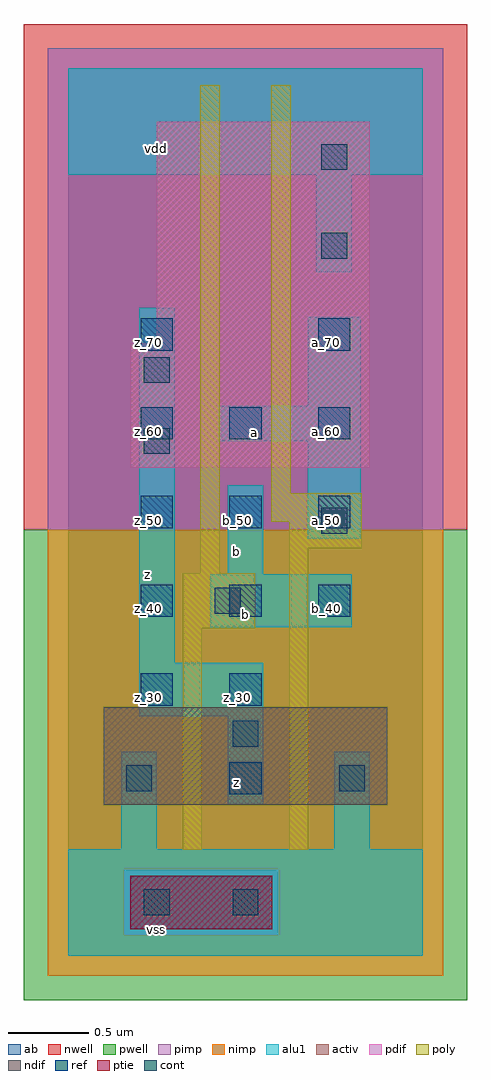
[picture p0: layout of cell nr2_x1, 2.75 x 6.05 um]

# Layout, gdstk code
import gdstk
lib = gdstk.Library(unit=1e-6, precision=2.5e-09)
def R(c, l, rs):  # rectangles x0, y0, x1, y1
    for r in rs: c.add(gdstk.rectangle(r[:2], r[2:], *l))
def A(c, l, x, y, w, h, nx, ny, dx, dy):  # array of equal rectangles
    R(c, l, [(x+i*dx, y+j*dy, x+i*dx+w, y+j*dy+h) for i in range(nx) for j in range(ny)])
ndif = (3, 0)
pdif = (4, 0)
ptie = (6, 0)
ref = (24, 0)
cont = (25, 0)
pwell = (41, 0)
nwell = (42, 0)
activ = (43, 0)
pimp = (44, 0)
nimp = (45, 0)
poly = (46, 0)
alu1 = (49, 0)
ab = (63, 0)

nr2_x1 = lib.new_cell('nr2_x1')
R(nr2_x1, ndif, [(0.22,0.935,1.98,1.54)])
R(nr2_x1, pdif, [(0.385,3.025,1.87,3.795), (0.55,3.795,1.87,5.17)])
R(nr2_x1, ptie, [(0.385,0.165,1.265,0.495)])
A(nr2_x1, ref, 0.45, 2.1, 0.2, 0.2, 3, 3, 0.55, 0.55)
R(nr2_x1, ref, [(1,1,1.2,1.2), (0.45,1.55,0.65,1.75), (1,1.55,1.2,1.75), (0.45,3.75,0.65,3.95), (1.55,3.75,1.75,3.95)])
R(nr2_x1, cont, [(0.47,0.25,0.63,0.41), (1.02,0.25,1.18,0.41), (0.36,1.02,0.52,1.18), (1.68,1.02,1.84,1.18), (1.02,1.295,1.18,1.455), (0.91,2.12,1.07,2.28), (1.57,2.615,1.73,2.775), (0.47,3.11,0.63,3.27), (0.47,3.55,0.63,3.71), (1.57,4.32,1.73,4.48), (1.57,4.87,1.73,5.03)])
R(nr2_x1, pwell, [(-0.275,-0.275,2.475,2.64)])
R(nr2_x1, nwell, [(-0.275,2.64,2.475,5.775)])
R(nr2_x1, activ, [(0.385,0.165,1.265,0.495), (0.22,0.935,1.98,1.54), (0.385,3.025,1.87,3.795), (0.55,3.795,1.87,5.17)])
R(nr2_x1, pimp, [(0.345,0.125,1.305,0.535), (-0.125,2.64,2.325,5.625)])
R(nr2_x1, nimp, [(-0.125,-0.125,2.325,0.125), (-0.125,0.125,0.345,0.535), (1.305,0.125,2.325,0.535), (-0.125,0.535,2.325,2.64)])
R(nr2_x1, poly, [(0.71,0.655,0.83,2.03), (1.37,0.655,1.49,2.525), (0.71,2.03,1.16,2.37), (0.82,2.37,0.94,5.395), (1.37,2.525,1.82,2.69), (1.26,2.69,1.82,2.865), (1.26,2.865,1.38,5.395)])
R(nr2_x1, alu1, [(0,0,2.2,0.66), (0.33,0.66,0.55,1.265), (1.65,0.66,1.87,1.265), (0.99,0.935,1.21,1.485), (0.44,1.485,1.21,1.815), (0.44,1.815,0.66,4.015), (0.88,2.035,1.76,2.365), (0.99,2.365,1.21,2.915), (1.485,2.585,1.815,3.19), (0.935,3.19,1.815,3.41), (1.485,3.41,1.815,3.96), (1.54,4.235,1.76,4.84), (0,4.84,2.2,5.5)])
R(nr2_x1, ab, [(0,0,2.2,5.5)])
nr2_x1.add(gdstk.Label('vss', (0.55,0.165), layer=49, texttype=0))
nr2_x1.add(gdstk.Label('z', (1.045,1.0725), layer=49, texttype=0))
nr2_x1.add(gdstk.Label('b', (1.1,2.1175), layer=49, texttype=0))
nr2_x1.add(gdstk.Label('b', (1.045,2.5025), layer=49, texttype=0))
nr2_x1.add(gdstk.Label('a', (1.155,3.245), layer=49, texttype=0))
nr2_x1.add(gdstk.Label('z', (0.495,2.365), layer=49, texttype=0))
nr2_x1.add(gdstk.Label('vdd', (0.55,5.005), layer=49, texttype=0))
nr2_x1.add(gdstk.Label('a_70', (1.6,3.8), layer=24, texttype=0))
nr2_x1.add(gdstk.Label('z_20', (1.05,1.05), layer=24, texttype=0))
nr2_x1.add(gdstk.Label('a_50', (1.6,2.7), layer=24, texttype=0))
nr2_x1.add(gdstk.Label('b_50', (1.05,2.7), layer=24, texttype=0))
nr2_x1.add(gdstk.Label('z_60', (0.5,3.25), layer=24, texttype=0))
nr2_x1.add(gdstk.Label('z_50', (0.5,2.7), layer=24, texttype=0))
nr2_x1.add(gdstk.Label('z_40', (0.5,2.15), layer=24, texttype=0))
nr2_x1.add(gdstk.Label('b_40', (1.6,2.15), layer=24, texttype=0))
nr2_x1.add(gdstk.Label('z_30', (1.05,1.6), layer=24, texttype=0))
nr2_x1.add(gdstk.Label('a_60', (1.6,3.25), layer=24, texttype=0))
nr2_x1.add(gdstk.Label('z_70', (0.5,3.8), layer=24, texttype=0))
nr2_x1.add(gdstk.Label('b_40', (1.05,2.15), layer=24, texttype=0))
nr2_x1.add(gdstk.Label('z_30', (0.5,1.6), layer=24, texttype=0))
nr2_x1.add(gdstk.Label('a_60', (1.05,3.25), layer=24, texttype=0))

lib.write_gds('nr2_x1.gds')
